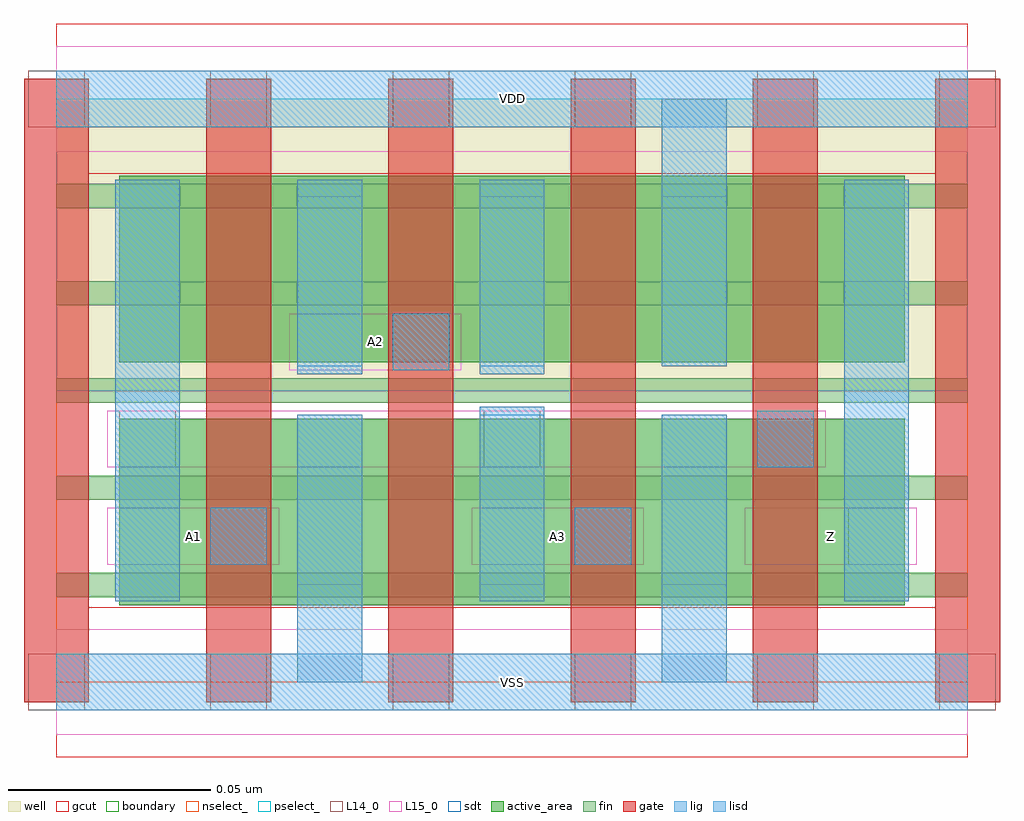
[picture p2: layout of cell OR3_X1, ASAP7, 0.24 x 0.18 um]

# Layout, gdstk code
import gdstk
lib = gdstk.Library(unit=1e-6, precision=2.5e-10)
def R(c, l, rs):  # rectangles x0, y0, x1, y1
    for r in rs: c.add(gdstk.rectangle(r[:2], r[2:], *l))
def A(c, l, x, y, w, h, nx, ny, dx, dy):  # array of equal rectangles
    R(c, l, [(x+i*dx, y+j*dy, x+i*dx+w, y+j*dy+h) for i in range(nx) for j in range(ny)])
well = (1, 0)
fin = (2, 0)
gate = (7, 0)
gcut = (10, 0)
active_area = (11, 0)
nselect_ = (12, 0)
pselect_ = (13, 0)
L14_0 = (14, 0)
L15_0 = (15, 0)
lig = (16, 0)
lisd = (17, 0)
sdt = (88, 0)
boundary = (100, 0)

or3_x1 = lib.new_cell('OR3_X1')
R(or3_x1, well, [(0,0.072,0.225,0.144)])
A(or3_x1, fin, 0, 0.021, 0.225, 0.006, 1, 5, 0, 0.024)
A(or3_x1, gate, -0.008, -0.005, 0.016, 0.154, 6, 1, 0.045, 0)
R(or3_x1, gcut, [(0,-0.0185,0.225,0.0185), (-0.008,-0.005,0.008,0.149), (0.217,-0.005,0.233,0.149), (0,0.1255,0.225,0.1625)])
A(or3_x1, active_area, 0.0155, 0.019, 0.059, 0.046, 4, 2, 0.045, 0.06)
R(or3_x1, nselect_, [(0,0,0.225,0.072)])
R(or3_x1, pselect_, [(0,0.072,0.225,0.144)])
A(or3_x1, L14_0, -0.007, -0.007, 0.014, 0.014, 6, 2, 0.045, 0.144)
R(or3_x1, L14_0, [(0.038,0.029,0.052,0.043), (0.128,0.029,0.142,0.043), (0.1955,0.029,0.2095,0.043), (0.0155,0.053,0.0295,0.067), (0.1055,0.053,0.1195,0.067), (0.173,0.053,0.187,0.067), (0.083,0.077,0.097,0.091)])
R(or3_x1, L15_0, [(0,-0.013,0.225,0.013), (0.0125,0.029,0.055,0.043), (0.1025,0.029,0.145,0.043), (0.17,0.029,0.2125,0.043), (0.0125,0.053,0.19,0.067), (0.0575,0.077,0.1,0.091), (0,0.131,0.225,0.157)])
R(or3_x1, lig, [(0,-0.007,0.225,0.007), (0.038,0.029,0.052,0.043), (0.128,0.029,0.142,0.043), (0.173,0.053,0.187,0.067), (0.083,0.077,0.097,0.091), (0,0.137,0.225,0.151)])
R(or3_x1, lisd, [(0.0595,0,0.0755,0.066), (0.0595,0,0.0755,0.066), (0.1495,0,0.1655,0.066), (0.1495,0,0.1655,0.066), (0.0145,0.02,0.0305,0.124), (0.1045,0.02,0.1205,0.068), (0.1045,0.02,0.1205,0.068), (0.1945,0.02,0.2105,0.124), (0.0595,0.076,0.0755,0.124), (0.0595,0.076,0.0755,0.124), (0.1045,0.076,0.1205,0.124), (0.1045,0.076,0.1205,0.124), (0.1495,0.078,0.1655,0.144), (0.1495,0.078,0.1655,0.144)])
R(or3_x1, sdt, [(0.0145,0.02,0.0305,0.124), (0.1945,0.02,0.2105,0.124), (0.0595,0.024,0.0755,0.066), (0.0595,0.024,0.0755,0.066), (0.1045,0.024,0.1205,0.066), (0.1045,0.024,0.1205,0.066), (0.1495,0.024,0.1655,0.066), (0.1495,0.024,0.1655,0.066), (0.0595,0.078,0.0755,0.12), (0.0595,0.078,0.0755,0.12), (0.1045,0.078,0.1205,0.12), (0.1045,0.078,0.1205,0.12), (0.1495,0.078,0.1655,0.12), (0.1495,0.078,0.1655,0.12)])
R(or3_x1, boundary, [(0,0,0.225,0.144)])
or3_x1.add(gdstk.Label('VDD', (0.1125,0.144), layer=1, texttype=251))
or3_x1.add(gdstk.Label('VSS', (0.1125,0), layer=3, texttype=251))
or3_x1.add(gdstk.Label('A1', (0.0338,0.036), layer=15, texttype=251))
or3_x1.add(gdstk.Label('A2', (0.0788,0.084), layer=15, texttype=251))
or3_x1.add(gdstk.Label('A3', (0.1237,0.036), layer=15, texttype=251))
or3_x1.add(gdstk.Label('Z', (0.1913,0.036), layer=15, texttype=251))
or3_x1.add(gdstk.Label('VSS', (0.1125,0), layer=15, texttype=251))
or3_x1.add(gdstk.Label('VDD', (0.1125,0.144), layer=15, texttype=251))

lib.write_gds('OR3_X1.gds')
